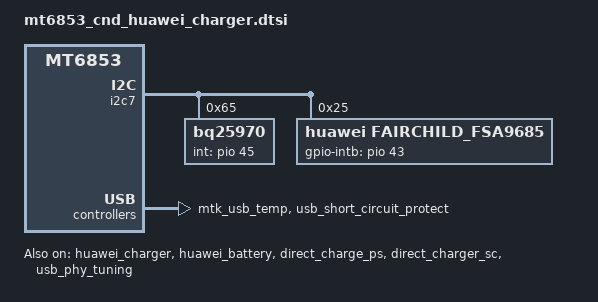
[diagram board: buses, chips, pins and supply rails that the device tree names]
&charger {
	ac_charger_current = <2695000>;
	ac_charger_input_current = <2300000>;
	fcp_charger_current = <2500000>;
	fcp_charger_input_current = <1400000>;
	non_std_ac_charger_current = <1200000>;
	pd_vbus_upper_bound = <9000000>;
	max_charger_voltage = <12000000>;
	bc12_charger = <22>; /* usb switch do bc12 */
	dpm_enable;
	battery_cv = <4420000>;
	iterm = <150000>;
	vbus_max_limit = <11500>;
	jeita_temp_t2_to_t3_cv = <4420000>;
	jeita_temp_t1_to_t2_cv = <4420000>;
	jeita_temp_t0_to_t1_cv = <4420000>;
	jeita_temp_t2_to_t3_cur = <2695000>;
	vdpm_buf_limit = <100>;
	vdpm_para =
			"-32767", "4000", "4300", "50",
			"4000", "4200", "4500", "50",
			"4200", "32767", "4600", "50";
	charge_full_design = <4000000>;
};

&pio {
	bq25970_main_irq_pins_default: bq25970_main_irq_pins_default {
		pins_cmd_dat {
			pinmux = <PINMUX_GPIO45__FUNC_GPIO45>;
			slew-rate = <0>;
			bias-pull-up;
		};
	};
	fsa9685_irq_pins_default: fsa9685_irq_pins_default {
		pins_cmd_dat {
			pinmux = <PINMUX_GPIO43__FUNC_GPIO43>;
			slew-rate = <0>;
			bias-pull-up;
		};
	};
};

&i2c7 {
	bq25970@65 {
		compatible = "bq25970";
		pinctrl-names = "default";
		pinctrl-0 = <&bq25970_main_irq_pins_default>;
		gpio_int = <&pio 45 0x0>;
		switching_frequency = <500>;
		special_freq_shift = <1>;
		sense_r_config = <20>;
		sense_r_actual = <20>;
		reg = <0x65>;
		status = "ok";
	};

	fairchild_fsa9685@25 {
		compatible = "huawei,fairchild_fsa9685";
		reg = <0x25>;
		pinctrl-names = "default";
		pinctrl-0 = <&fsa9685_irq_pins_default>;
		fairchild_fsa9685,gpio-intb = <&pio 43 0x0>;
		fcp_support = <1>;
		scp_support = <1>;
		power_by_5v = <1>;
		close_bc12 = <1>;
		ignore_force_ac = <1>;
		need_other_bc12 = <0>;
		/* for rt8979 */
		interrupt-names = "vbus_change", "device_change", "detach",
			"attach";
		/* auto_switch; */
		scp;
		dcd;
		dcd_timeout = <600>;  /* ms */
		intb_watchdog = <1000>;  /* ms */
		ovp_sel = <14500000>;  /* uV */
		status = "ok";
	};

};

&huawei_charger {
	compatible = "huawei,charger";
	en_eoc_max_delay = <6>;
	status = "okay";
};

&huawei_battery {
	compatible = "huawei,battery";
	voltage_max_design = <4410000>;
	status = "okay";
};


&lk_charger{
	ac_charger_current = <1050000>;
	ac_charger_input_current = <1050000>;
	non_std_ac_charger_current = <1050000>;
	max_charger_voltage = <12000000>;
	is_power_path;
	poweron_charger_enable = <1>;
};

&direct_charge_ps {
	status = "ok";
};

&direct_charger {
	status = "disabled";
};

&direct_charger_sc {
	use_5A = <1>;
	adaptor_antifake_check_enable = <1>;
	adaptor_antifake_key_index = <2>;
	dc_volt_ratio = <2>;
	max_adaptor_vset = <11000>;
	init_adapter_vset = <8800>;
	delta_err_10v2p25a = <150>;
	vol_err_th = <500>;
	adaptor_leakage_current_th = <600>;
	high_temp_hysteresis = <1>;
	gain_curr_10v2a = <300>;
	gain_curr_10v2p25a = <500>;
	init_delt_vset = <450>;
	vstep = <20>;
	max_dc_bat_vol = <4380>;
	max_current_for_none_standard_cable = <4200>;
	volt_para =
		"4230", "8000", "6200",
		"4310", "6200", "5200",
		"4330", "5200", "4000",
		"4420", "4000", "1200";
	compensate_r = <20>;
	cc_cable_detect_enable = <1>;
	full_path_res_max = <500>;
	scp_work_on_charger = <1>;
	standard_cable_full_path_res_max = <500>;
	first_cc_stage_timer_in_min = <10>;
	stage_need_to_jump = "-1";
	is_show_ico_first = <1>;
	is_send_cable_type = <0>;
	cam_flash_stop = <0>;
	temp_para =
		"-32767", "10", "0",
		"10", "45", "8000",
		"45", "32767", "0";
	resist_para =
		"0", "300", "8000",
		"300", "500", "5000";
	std_resist_para =
		"0", "300", "8000",
		"300", "500", "5000";
	10v2p25a_cur_para =
		"-32767", "5500",  "2000",
		"5500",   "9000",  "2500",
		"9000",   "10000", "2250",
		"10000",  "10500", "2000",
		"10500",  "32767", "1500";
	ui_max_pwr = <40000>;
	status = "ok";
};

&bat_gm30 {
	bat_para =
		"BITCGL", "120000", "220000",
		"BYTCAE", "250000", "350000",
		"BCYCAE", "590000", "690000",
		"BCYCDE", "400000", "510000";
	ntc_compensation_is = <1>;
	ntc_temp_compensation_para =
		"7000", "70",
		"6000", "50",
		"5000", "40",
		"3000", "30",
		"2000", "30";
	min_fcc = <2800000>;
	max_fcc = <4000000>;
	dlpt_optimization;
	CAR_TUNE_VALUE = <(250)>;
	g_FG_PSEUDO100_T0 = <(97)>;
	g_FG_PSEUDO100_T1 = <(97)>;
	g_FG_PSEUDO100_T2 = <(97)>;
	g_FG_PSEUDO100_T3 = <(97)>;
	g_FG_PSEUDO100_T4 = <(97)>;
	ACTIVE_TABLE = <(0)>;
	MULTI_BATTERY = <0>;
	#include "BYTCAE_4v43_3900mah_ext.dtsi"
	#include "BITCGL_4v43_3900mah_ext.dtsi"
	#include "BCYCAE_4v43_3900mah_ext.dtsi"
	#include "BCYCDE_4v43_3900mah_ext.dtsi"
};

&usb_c_pinctrl {
	status = "disabled";
};

&mt6360_pmu {
	disable_lpsd = <1>;
	mt6360,intr_gpio_num = <10>; /* direct defined GPIO num */
	mt6360,intr_gpio = <&pio 10 0x0>;
};

&mt6360_typec {
	mt6360pd,intr_gpio_num = <9>; /* direct defined GPIO num */
	mt6360pd,intr_gpio = <&pio 9 0x0>;
};

&power_thermalzone {
	status = "ok";
};

&mtk_usb_temp {
	status = "ok";
};

&usb_short_circuit_protect {
	uscp_threshold_tusb = <40>;
	open_mosfet_temp = <30>;
	close_mosfet_temp = <10>;
	open_hiz_temp = <30>;
	interval_switch_temp = <15>;
	status = "ok";
};

&usb_phy_tuning {
		h_u2_vrt_ref = <7>;
		h_u2_term_ref = <6>;
		h_u2_enhance = <2>;
		d_u2_vrt_ref = <6>;
		d_u2_term_ref = <6>;
		d_u2_enhance = <2>;
		status = "ok";
};
